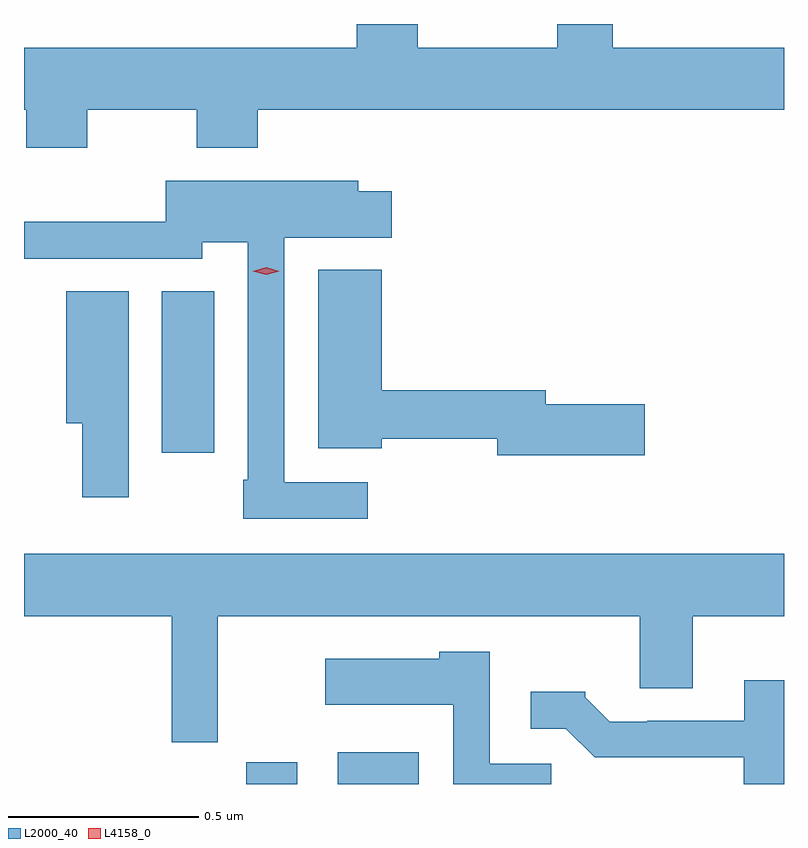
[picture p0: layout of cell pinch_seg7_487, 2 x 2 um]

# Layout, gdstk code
import gdstk
lib = gdstk.Library(unit=1e-6, precision=1e-09)
def R(c, l, rs):  # rectangles x0, y0, x1, y1
    for r in rs: c.add(gdstk.rectangle(r[:2], r[2:], *l))
def P(c, l, *ps):  # polygons
    for p in ps: c.add(gdstk.Polygon(p, *l))
L2000_40 = (2000, 40)
L4158_0 = (4158, 0)

pinch_seg7_487 = lib.new_cell('pinch_seg7_487')
R(pinch_seg7_487, L2000_40, [(218.186,1076.098,218.32,1076.155), (218.427,1076.098,218.64,1076.181), (217.964,1076.97,218.101,1077.395)])
P(pinch_seg7_487, L2000_40, [(217.767,1077.872),(218.056,1077.872),(218.056,1077.773),(218.216,1077.773),(218.216,1077.872),(219.601,1077.872),(219.601,1078.036),(219.15,1078.036),(219.15,1078.098),(219.004,1078.098),(219.004,1078.036),(218.637,1078.036),(218.637,1078.098),(218.477,1078.098),(218.477,1078.036),(217.601,1078.036),(217.601,1077.872),(217.607,1077.872),(217.607,1077.773),(217.767,1077.773)],
  [(218.506,1076.892),(218.286,1076.892),(218.286,1077.536),(218.569,1077.536),(218.569,1077.658),(218.481,1077.658),(218.481,1077.685),(217.974,1077.685),(217.974,1077.578),(217.601,1077.578),(217.601,1077.48),(218.07,1077.48),(218.07,1077.524),(218.19,1077.524),(218.19,1076.899),(218.178,1076.899),(218.178,1076.796),(218.506,1076.796)],
  [(219.235,1077.098),(218.974,1077.098),(218.974,1077.134),(218.542,1077.134),(218.542,1077.451),(218.375,1077.451),(218.375,1076.981),(218.542,1076.981),(218.542,1077.006),(218.846,1077.006),(218.846,1076.963),(219.235,1076.963)],
  [(217.876,1077.395),(217.712,1077.395),(217.712,1077.047),(217.754,1077.047),(217.754,1076.853),(217.876,1076.853)],
  [(218.111,1076.54),(219.221,1076.54),(219.221,1076.35),(219.361,1076.35),(219.361,1076.54),(219.601,1076.54),(219.601,1076.704),(217.601,1076.704),(217.601,1076.54),(217.99,1076.54),(217.99,1076.208),(218.111,1076.208)],
  [(218.989,1076.151),(218.826,1076.151),(218.826,1076.446),(218.694,1076.446),(218.694,1076.428),(218.394,1076.428),(218.394,1076.306),(218.73,1076.306),(218.73,1076.098),(218.989,1076.098)],
  [(219.601,1076.371),(219.497,1076.371),(219.497,1076.265),(219.241,1076.265),(219.241,1076.262),(219.142,1076.262),(219.078,1076.326),(219.078,1076.341),(218.934,1076.341),(218.934,1076.244),(219.027,1076.244),(219.103,1076.168),(219.495,1076.168),(219.495,1076.098),(219.601,1076.098)])
P(pinch_seg7_487, L4158_0, [(218.238,1077.438),(218.203,1077.448),(218.203,1077.448),(218.203,1077.448),(218.238,1077.458),(218.273,1077.448),(218.273,1077.448),(218.273,1077.448)])

lib.write_gds('pinch_seg7_487.gds')
